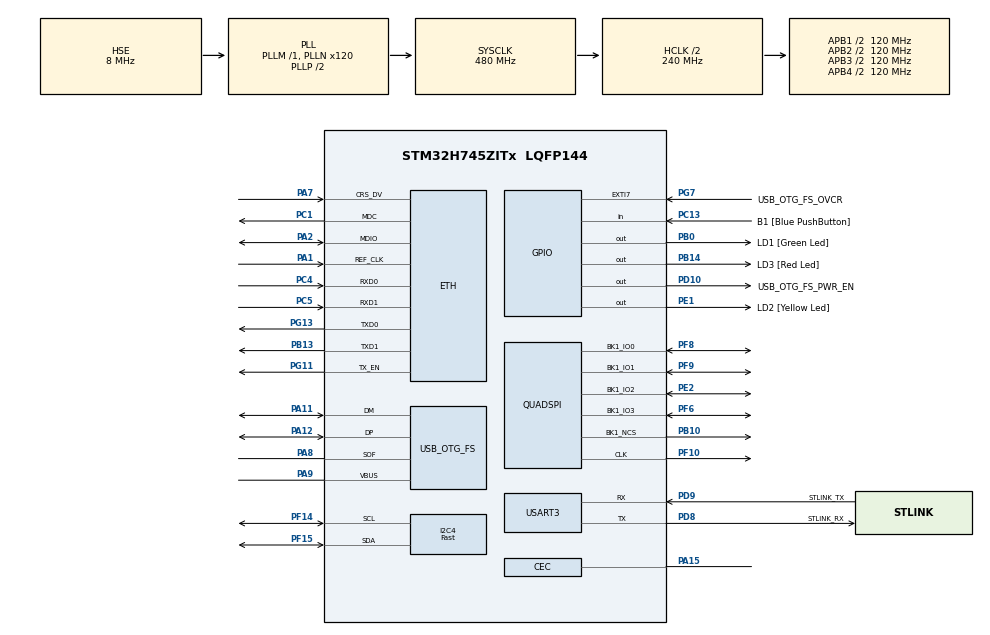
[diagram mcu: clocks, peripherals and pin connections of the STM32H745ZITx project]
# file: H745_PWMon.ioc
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CortexM4.IPs=FATFS_M4\:I,FREERTOS_M4\:I,IWDG2\:I,RCC,WWDG2\:I,DMA,BDMA,MDMA,NVIC2\:I,USART3,ETH,DEBUG,USB_DEVICE_M4\:I,USB_HOST_M4\:I,PDM2PCM_M4\:I,PWR,RESMGR_UTILITY,SYS_M4\:I,CORTEX_M4\:I,OPENAMP_M4\:I,VREFBUF,GPIO
CortexM7.IPs=FATFS_M7\:I,FREERTOS_M7\:I,IWDG1\:I,RCC\:I,WWDG1\:I,DMA\:I,BDMA\:I,MDMA\:I,NVIC1\:I,SYS\:I,USART3\:I,USB_OTG_FS\:I,ETH\:I,CORTEX_M7\:I,DEBUG\:I,USB_DEVICE_M7\:I,USB_HOST_M7\:I,PDM2PCM_M7\:I,PWR\:I,RESMGR_UTILITY\:I,OPENAMP_M7\:I,VREFBUF\:I,GPIO\:I,I2C4\:I,QUADSPI\:I,HDMI_CEC\:I
CortexM7.Pins=PB14,PE1
ETH.MediaInterface=HAL_ETH_RMII_MODE
I2C4.I2C_Speed_Mode=I2C_Fast
I2C4.Timing=0x00B03FDB
Mcu.Family=STM32H7
Mcu.Name=STM32H745ZITx
Mcu.Package=LQFP144
NVIC1.CEC_IRQn=true\:0\:0\:false\:false\:true\:false\:true\:true
NVIC1.PriorityGroup=NVIC_PRIORITYGROUP_4
NVIC2.PriorityGroup=NVIC_PRIORITYGROUP_4
PA1.Mode=RMII
PA1.PinAttribute=CortexM7
PA1.Signal=ETH_REF_CLK
PA11.Mode=Device_Only
PA11.PinAttribute=CortexM7
PA11.Signal=USB_OTG_FS_DM
PA12.Mode=Device_Only
PA12.PinAttribute=CortexM7
PA12.Signal=USB_OTG_FS_DP
PA15\ (JTDI).Mode=CEC_Activate
PA15\ (JTDI).PinAttribute=CortexM7
PA15\ (JTDI).Signal=CEC
PA2.Mode=RMII
PA2.PinAttribute=CortexM7
PA2.Signal=ETH_MDIO
PA7.Mode=RMII
PA7.PinAttribute=CortexM7
PA7.Signal=ETH_CRS_DV
PA8.Mode=Activate_SOF_FS
PA8.PinAttribute=CortexM7
PA8.Signal=USB_OTG_FS_SOF
PA9.Mode=Activate_VBUS
PA9.PinAttribute=CortexM7
PA9.Signal=USB_OTG_FS_VBUS
PB0.GPIO_Label=LD1 [Green Led]
PB0.PinAttribute=Free
PB0.Signal=GPIO_Output
PB10.Mode=Single Bank 1
PB10.PinAttribute=CortexM7
PB10.Signal=QUADSPI_BK1_NCS
PB13.Mode=RMII
PB13.PinAttribute=CortexM7
PB13.Signal=ETH_TXD1
PB14.GPIO_Label=LD3 [Red Led]
PB14.PinAttribute=CortexM7
PB14.Signal=GPIO_Output
PC1.Mode=RMII
PC1.PinAttribute=CortexM7
PC1.Signal=ETH_MDC
PC13.GPIO_Label=B1 [Blue PushButton]
PC13.PinAttribute=Free
PC13.Signal=GPIO_Input
PC14-OSC32_IN\ (OSC32_IN).Mode=LSE-External-Oscillator
PC14-OSC32_IN\ (OSC32_IN).PinAttribute=CortexM7
PC14-OSC32_IN\ (OSC32_IN).Signal=RCC_OSC32_IN
PC15-OSC32_OUT\ (OSC32_OUT).Mode=LSE-External-Oscillator
PC15-OSC32_OUT\ (OSC32_OUT).PinAttribute=CortexM7
PC15-OSC32_OUT\ (OSC32_OUT).Signal=RCC_OSC32_OUT
PC4.Mode=RMII
PC4.PinAttribute=CortexM7
PC4.Signal=ETH_RXD0
PC5.Mode=RMII
PC5.PinAttribute=CortexM7
PC5.Signal=ETH_RXD1
PD10.GPIO_Label=USB_OTG_FS_PWR_EN
PD10.PinAttribute=Free
PD10.Signal=GPIO_Output
PD8.GPIO_Label=STLINK_RX
PD8.Mode=Asynchronous
PD8.PinAttribute=CortexM7
PD8.Signal=USART3_TX
PD9.GPIO_Label=STLINK_TX
PD9.Mode=Asynchronous
PD9.PinAttribute=CortexM7
PD9.Signal=USART3_RX
PE1.GPIO_Label=LD2 [Yellow Led]
PE1.PinAttribute=CortexM7
PE1.Signal=GPIO_Output
PE2.Mode=Single Bank 1
PE2.PinAttribute=CortexM7
PE2.Signal=QUADSPI_BK1_IO2
PF10.Mode=Single Bank 1
PF10.PinAttribute=CortexM7
PF10.Signal=QUADSPI_CLK
PF14.Mode=I2C
PF14.PinAttribute=CortexM7
PF14.Signal=I2C4_SCL
PF15.Mode=I2C
PF15.PinAttribute=CortexM7
PF15.Signal=I2C4_SDA
PF6.Mode=Single Bank 1
PF6.PinAttribute=CortexM7
PF6.Signal=QUADSPI_BK1_IO3
PF8.Mode=Single Bank 1
PF8.PinAttribute=CortexM7
PF8.Signal=QUADSPI_BK1_IO0
PF9.Mode=Single Bank 1
PF9.PinAttribute=CortexM7
PF9.Signal=QUADSPI_BK1_IO1
PG11.Mode=RMII
PG11.PinAttribute=CortexM7
PG11.Signal=ETH_TX_EN
PG13.Mode=RMII
PG13.PinAttribute=CortexM7
PG13.Signal=ETH_TXD0
PG7.GPIO_Label=USB_OTG_FS_OVCR
PG7.PinAttribute=Free
PG7.Signal=GPXTI7
PH0-OSC_IN\ (PH0).Mode=HSE-External-Clock-Source
PH0-OSC_IN\ (PH0).PinAttribute=CortexM7
PH0-OSC_IN\ (PH0).Signal=RCC_OSC_IN
PH1-OSC_OUT\ (PH1).PinAttribute=CortexM7
PH1-OSC_OUT\ (PH1).Signal=RCC_OSC_OUT
ProjectManager.HeapSize=M4-0x200,M7-0x200
ProjectManager.StackSize=M4-0x400,M7-0x400
ProjectManager.TargetToolchain=STM32CubeIDE
RCC.ADCFreq_Value=16125000
RCC.APB1Freq_Value=120000000
RCC.APB2Freq_Value=120000000
RCC.APB3Freq_Value=120000000
RCC.APB4Freq_Value=120000000
RCC.CortexFreq_Value=480000000
RCC.D1PPRE=RCC_APB3_DIV2
RCC.D2PPRE1=RCC_APB1_DIV2
RCC.D2PPRE2=RCC_APB2_DIV2
RCC.D3PPRE=RCC_APB4_DIV2
RCC.DIVM1=1
RCC.DIVM3=1
RCC.DIVN1=120
RCC.DIVN3=18
RCC.DIVQ3=3
RCC.HCLKFreq_Value=240000000
RCC.HPRE=RCC_HCLK_DIV2
RCC.HSE_VALUE=8000000
RCC.PLL2FRACN=0
RCC.PLL3FRACN=6144
RCC.PLLFRACN=0
RCC.PLLSourceVirtual=RCC_PLLSOURCE_HSE
RCC.SYSCLKFreq_VALUE=480000000
RCC.SYSCLKSource=RCC_SYSCLKSOURCE_PLLCLK
RCC.SupplySource=PWR_LDO_SUPPLY
RCC.USBCLockSelection=RCC_USBCLKSOURCE_HSI48
RCC.USBFreq_Value=48000000
USART3.VirtualMode-Asynchronous=VM_ASYNC
USB_OTG_FS.VirtualMode=Device_Only
VP_SYS_M4_VS_Systick.Mode=SysTick
board=NUCLEO-H745ZI-Q

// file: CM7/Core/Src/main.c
/* USER CODE BEGIN Header */
/**
  ******************************************************************************
  * @file           : main.c
  * @brief          : Main program body
  ******************************************************************************
  * @attention
  *
  * Copyright (c) 2023 STMicroelectronics.
  * All rights reserved.
  *
  * This software is licensed under terms that can be found in the LICENSE file
  * in the root directory of this software component.
  * If no LICENSE file comes with this software, it is provided AS-IS.
  *
  ******************************************************************************
  */
/* USER CODE END Header */
#include "main.h"
#include "string.h"

/* USER CODE BEGIN Includes */
#include "LCDrivers/Fonts/fonts.h"
#include "LCDrivers/ili9486.h"
#include "personalINFO/persona_2.h"

#include "INA219.h"
/* USER CODE END Includes */

/* USER CODE BEGIN PD */
//#define INA219_Wrk

#ifndef HSEM_ID_0
#define HSEM_ID_0 (0U) /* HW semaphore 0*/
#endif

/* USER CODE END PD */

#if defined ( __ICCARM__ ) /*!< IAR Compiler */
#pragma location=0x30000000
ETH_DMADescTypeDef  DMARxDscrTab[ETH_RX_DESC_CNT]; /* Ethernet Rx DMA Descriptors */
#pragma location=0x30000200
ETH_DMADescTypeDef  DMATxDscrTab[ETH_TX_DESC_CNT]; /* Ethernet Tx DMA Descriptors */

#elif defined ( __CC_ARM )  /* MDK ARM Compiler */

__attribute__((at(0x30000000))) ETH_DMADescTypeDef  DMARxDscrTab[ETH_RX_DESC_CNT]; /* Ethernet Rx DMA Descriptors */
__attribute__((at(0x30000200))) ETH_DMADescTypeDef  DMATxDscrTab[ETH_TX_DESC_CNT]; /* Ethernet Tx DMA Descriptors */

#elif defined ( __GNUC__ ) /* GNU Compiler */
ETH_DMADescTypeDef DMARxDscrTab[ETH_RX_DESC_CNT] __attribute__((section(".RxDecripSection"))); /* Ethernet Rx DMA Descriptors */
ETH_DMADescTypeDef DMATxDscrTab[ETH_TX_DESC_CNT] __attribute__((section(".TxDecripSection")));   /* Ethernet Tx DMA Descriptors */

#endif

ETH_TxPacketConfig TxConfig;

ETH_HandleTypeDef heth;

CEC_HandleTypeDef hcec;

I2C_HandleTypeDef hi2c4;

QSPI_HandleTypeDef hqspi;

UART_HandleTypeDef huart3;

PCD_HandleTypeDef hpcd_USB_OTG_FS;

   uint8_t cec_receive_buffer[16];
/* USER CODE BEGIN PV */
struct _timestamp{
	uint32_t one;
	uint32_t two;
} timestamp;

uint8_t onetime = 1;

//// buffer for text display
char txtdispBF[120] = {0};

//// --------- INA219 ------------------------------------
INA219_Read_Set inata; // read
INA219_Read_Set inatb; // read
INA219_Read_Set inatc;
INA219_Conf_Strc cofgra;

/* USER CODE END PV */

void SystemClock_Config(void);
static void MX_GPIO_Init(void);
static void MX_ETH_Init(void);
static void MX_USART3_UART_Init(void);
static void MX_USB_OTG_FS_PCD_Init(void);
static void MX_I2C4_Init(void);
static void MX_HDMI_CEC_Init(void);
static void MX_QUADSPI_Init(void);
/* USER CODE BEGIN PFP */
void ili_scr_1();
void ili_seq_arrow();
void pwmon_labeling();
/* USER CODE END PFP */

int main(void)
{
/* USER CODE BEGIN Boot_Mode_Sequence_0 */
  int32_t timeout;
/* USER CODE END Boot_Mode_Sequence_0 */

/* USER CODE BEGIN Boot_Mode_Sequence_1 */
  /* Wait until CPU2 boots and enters in stop mode or timeout*/
  timeout = 0xFFFF;
  while((__HAL_RCC_GET_FLAG(RCC_FLAG_D2CKRDY) != RESET) && (timeout-- > 0));
  if ( timeout < 0 )
  {
  Error_Handler();
  }
/* USER CODE END Boot_Mode_Sequence_1 */
  /* MCU Configuration--------------------------------------------------------*/

  /* Reset of all peripherals, Initializes the Flash interface and the Systick. */
  HAL_Init();

  /* Configure the system clock */
  SystemClock_Config();
/* USER CODE BEGIN Boot_Mode_Sequence_2 */
/* When system initialization is finished, Cortex-M7 will release Cortex-M4 by means of
HSEM notification */
/*HW semaphore Clock enable*/
__HAL_RCC_HSEM_CLK_ENABLE();
/*Take HSEM */
HAL_HSEM_FastTake(HSEM_ID_0);
/*Release HSEM in order to notify the CPU2(CM4)*/
HAL_HSEM_Release(HSEM_ID_0,0);
/* wait until CPU2 wakes up from stop mode */
timeout = 0xFFFF;
while((__HAL_RCC_GET_FLAG(RCC_FLAG_D2CKRDY) == RESET) && (timeout-- > 0));
if ( timeout < 0 )
{
Error_Handler();
}
/* USER CODE END Boot_Mode_Sequence_2 */

  /* Initialize all configured peripherals */
  MX_GPIO_Init();
  MX_ETH_Init();
  MX_USART3_UART_Init();
  MX_USB_OTG_FS_PCD_Init();
  MX_I2C4_Init();
  MX_HDMI_CEC_Init();
  MX_QUADSPI_Init();
  /* USER CODE BEGIN 2 */

  timestamp.one = 0;
  timestamp.two = 0;

  ili9486_Init();
  ili9486_DisplayOn();

  ili_scr_1();

  ili9486_FillRect(0, 0, 480, 35, cl_BLUE);
  ili9486_WriteStringNoBG(10, 10, " > PWMon ----->>>-----", Font20, cl_WHITE);
  ili9486_WriteStringNoBG(400, 10, " OWL_HOR ", Font12, cl_WHITE);

  ili9486_WriteStringNoBG(10, 40, " INA219 PWRMon Quick", Font20, cl_OLIVE);
  //ili9486_FillRect(20, 100, 450, 200, cl_BLACK);
  //ili9486_DrawRGBImage(90, 90, 277, 170, (uint16_t*)image_data_owlsOFCC);

#ifdef INA219_Wrk
  INA219_INIT_Calibrate(&hi2c4, INA219_ADDR_1);
  INA219_INIT_Calibrate(&hi2c4, INA219_ADDR_2);
//  cofgra.INA219CF.reset = 0;
//  cofgra.INA219CF.BRNG = BRNG_FSR_16V;
//  cofgra.INA219CF.PGA = PGA_GainD8_320mv;
//  cofgra.INA219CF.BADC = ADCI_12bit_532uS;
//  cofgra.INA219CF.SADC = ADCI_10bit_148uS;
//  cofgra.INA219CF.Mode = INAM_ShuntBusV_Continuous;
//
//  INA219_INIT(&hi2c1, INA219_ADDR_1, cofgra);
//  INA219_Calibrate(&hi2c1, INA219_ADDR_1);
#endif

  /* USER CODE END 2 */

  /* Infinite loop */
  while (1)
  {

    /* USER CODE BEGIN 3 */

	  //// blink
	  if(timestamp.one <= HAL_GetTick()){
		  timestamp.one = HAL_GetTick() + 50;

		  HAL_GPIO_TogglePin(LD3_GPIO_Port, LD3_Pin);
		  ili_seq_arrow();

		  //// Labeling, first time only
		  if(onetime){
			  onetime = 0;
			  	 pwmon_labeling();
		  }

	  }

	  //// data request
	  if(timestamp.two <= HAL_GetTick()){
		  timestamp.two = HAL_GetTick() + 100;
		  HAL_GPIO_TogglePin(LD2_GPIO_Port, LD2_Pin);

#ifdef INA219_Wrk
		  inata.Bus_V   = INA219Read_BusV(&hi2c4, INA219_ADDR_1);
		  inata.CURRENT = INA219Read_Current(&hi2c4, INA219_ADDR_1);
		  inata.POWER   = INA219Read_Power(&hi2c4, INA219_ADDR_1);
		  inata.SHUNT_V = INA219Read_ShuntV(&hi2c4, INA219_ADDR_1);
#endif

	  }

  }
  /* USER CODE END 3 */
}

void SystemClock_Config(void)
{
  RCC_OscInitTypeDef RCC_OscInitStruct = {0};
  RCC_ClkInitTypeDef RCC_ClkInitStruct = {0};

  /** Supply configuration update enable
  */
  HAL_PWREx_ConfigSupply(PWR_LDO_SUPPLY);

  /** Configure the main internal regulator output voltage
  */
  __HAL_PWR_VOLTAGESCALING_CONFIG(PWR_REGULATOR_VOLTAGE_SCALE1);

  while(!__HAL_PWR_GET_FLAG(PWR_FLAG_VOSRDY)) {}

  __HAL_RCC_SYSCFG_CLK_ENABLE();
  __HAL_PWR_VOLTAGESCALING_CONFIG(PWR_REGULATOR_VOLTAGE_SCALE0);

  while(!__HAL_PWR_GET_FLAG(PWR_FLAG_VOSRDY)) {}

  /** Initializes the RCC Oscillators according to the specified parameters
  * in the RCC_OscInitTypeDef structure.
  */
  RCC_OscInitStruct.OscillatorType = RCC_OSCILLATORTYPE_HSI48|RCC_OSCILLATORTYPE_LSI
                              |RCC_OSCILLATORTYPE_HSE;
  RCC_OscInitStruct.HSEState = RCC_HSE_BYPASS;
  RCC_OscInitStruct.LSIState = RCC_LSI_ON;
  RCC_OscInitStruct.HSI48State = RCC_HSI48_ON;
  RCC_OscInitStruct.PLL.PLLState = RCC_PLL_ON;
  RCC_OscInitStruct.PLL.PLLSource = RCC_PLLSOURCE_HSE;
  RCC_OscInitStruct.PLL.PLLM = 1;
  RCC_OscInitStruct.PLL.PLLN = 120;
  RCC_OscInitStruct.PLL.PLLP = 2;
  RCC_OscInitStruct.PLL.PLLQ = 2;
  RCC_OscInitStruct.PLL.PLLR = 2;
  RCC_OscInitStruct.PLL.PLLRGE = RCC_PLL1VCIRANGE_3;
  RCC_OscInitStruct.PLL.PLLVCOSEL = RCC_PLL1VCOWIDE;
  RCC_OscInitStruct.PLL.PLLFRACN = 0;
  if (HAL_RCC_OscConfig(&RCC_OscInitStruct) != HAL_OK)
  {
    Error_Handler();
  }

  /** Initializes the CPU, AHB and APB buses clocks
  */
  RCC_ClkInitStruct.ClockType = RCC_CLOCKTYPE_HCLK|RCC_CLOCKTYPE_SYSCLK
                              |RCC_CLOCKTYPE_PCLK1|RCC_CLOCKTYPE_PCLK2
                              |RCC_CLOCKTYPE_D3PCLK1|RCC_CLOCKTYPE_D1PCLK1;
  RCC_ClkInitStruct.SYSCLKSource = RCC_SYSCLKSOURCE_PLLCLK;
  RCC_ClkInitStruct.SYSCLKDivider = RCC_SYSCLK_DIV1;
  RCC_ClkInitStruct.AHBCLKDivider = RCC_HCLK_DIV2;
  RCC_ClkInitStruct.APB3CLKDivider = RCC_APB3_DIV2;
  RCC_ClkInitStruct.APB1CLKDivider = RCC_APB1_DIV2;
  RCC_ClkInitStruct.APB2CLKDivider = RCC_APB2_DIV2;
  RCC_ClkInitStruct.APB4CLKDivider = RCC_APB4_DIV2;

  if (HAL_RCC_ClockConfig(&RCC_ClkInitStruct, FLASH_LATENCY_4) != HAL_OK)
  {
    Error_Handler();
  }
}

static void MX_ETH_Init(void)
{

   static uint8_t MACAddr[6];

  heth.Instance = ETH;
  MACAddr[0] = 0x00;
  MACAddr[1] = 0x80;
  MACAddr[2] = 0xE1;
  MACAddr[3] = 0x00;
  MACAddr[4] = 0x00;
  MACAddr[5] = 0x00;
  heth.Init.MACAddr = &MACAddr[0];
  heth.Init.MediaInterface = HAL_ETH_RMII_MODE;
  heth.Init.TxDesc = DMATxDscrTab;
  heth.Init.RxDesc = DMARxDscrTab;
  heth.Init.RxBuffLen = 1524;

  if (HAL_ETH_Init(&heth) != HAL_OK)
  {
    Error_Handler();
  }

  memset(&TxConfig, 0 , sizeof(ETH_TxPacketConfig));
  TxConfig.Attributes = ETH_TX_PACKETS_FEATURES_CSUM | ETH_TX_PACKETS_FEATURES_CRCPAD;
  TxConfig.ChecksumCtrl = ETH_CHECKSUM_IPHDR_PAYLOAD_INSERT_PHDR_CALC;
  TxConfig.CRCPadCtrl = ETH_CRC_PAD_INSERT;

}

static void MX_HDMI_CEC_Init(void)
{

  hcec.Instance = CEC;
  hcec.Init.SignalFreeTime = CEC_DEFAULT_SFT;
  hcec.Init.Tolerance = CEC_STANDARD_TOLERANCE;
  hcec.Init.BRERxStop = CEC_RX_STOP_ON_BRE;
  hcec.Init.BREErrorBitGen = CEC_BRE_ERRORBIT_NO_GENERATION;
  hcec.Init.LBPEErrorBitGen = CEC_LBPE_ERRORBIT_NO_GENERATION;
  hcec.Init.BroadcastMsgNoErrorBitGen = CEC_BROADCASTERROR_ERRORBIT_GENERATION;
  hcec.Init.SignalFreeTimeOption = CEC_SFT_START_ON_TXSOM;
  hcec.Init.ListenMode = CEC_FULL_LISTENING_MODE;
  hcec.Init.OwnAddress = CEC_OWN_ADDRESS_NONE;
  hcec.Init.RxBuffer = cec_receive_buffer;
  if (HAL_CEC_Init(&hcec) != HAL_OK)
  {
    Error_Handler();
  }

}

static void MX_I2C4_Init(void)
{

  hi2c4.Instance = I2C4;
  hi2c4.Init.Timing = 0x00B03FDB;
  hi2c4.Init.OwnAddress1 = 0;
  hi2c4.Init.AddressingMode = I2C_ADDRESSINGMODE_7BIT;
  hi2c4.Init.DualAddressMode = I2C_DUALADDRESS_DISABLE;
  hi2c4.Init.OwnAddress2 = 0;
  hi2c4.Init.OwnAddress2Masks = I2C_OA2_NOMASK;
  hi2c4.Init.GeneralCallMode = I2C_GENERALCALL_DISABLE;
  hi2c4.Init.NoStretchMode = I2C_NOSTRETCH_DISABLE;
  if (HAL_I2C_Init(&hi2c4) != HAL_OK)
  {
    Error_Handler();
  }

  /** Configure Analogue filter
  */
  if (HAL_I2CEx_ConfigAnalogFilter(&hi2c4, I2C_ANALOGFILTER_ENABLE) != HAL_OK)
  {
    Error_Handler();
  }

  /** Configure Digital filter
  */
  if (HAL_I2CEx_ConfigDigitalFilter(&hi2c4, 0) != HAL_OK)
  {
    Error_Handler();
  }

}

static void MX_QUADSPI_Init(void)
{

  /* QUADSPI parameter configuration*/
  hqspi.Instance = QUADSPI;
  hqspi.Init.ClockPrescaler = 255;
  hqspi.Init.FifoThreshold = 1;
  hqspi.Init.SampleShifting = QSPI_SAMPLE_SHIFTING_NONE;
  hqspi.Init.FlashSize = 1;
  hqspi.Init.ChipSelectHighTime = QSPI_CS_HIGH_TIME_1_CYCLE;
  hqspi.Init.ClockMode = QSPI_CLOCK_MODE_0;
  hqspi.Init.FlashID = QSPI_FLASH_ID_1;
  hqspi.Init.DualFlash = QSPI_DUALFLASH_DISABLE;
  if (HAL_QSPI_Init(&hqspi) != HAL_OK)
  {
    Error_Handler();
  }

}

static void MX_USART3_UART_Init(void)
{

  huart3.Instance = USART3;
  huart3.Init.BaudRate = 115200;
  huart3.Init.WordLength = UART_WORDLENGTH_8B;
  huart3.Init.StopBits = UART_STOPBITS_1;
  huart3.Init.Parity = UART_PARITY_NONE;
  huart3.Init.Mode = UART_MODE_TX_RX;
  huart3.Init.HwFlowCtl = UART_HWCONTROL_NONE;
  huart3.Init.OverSampling = UART_OVERSAMPLING_16;
  huart3.Init.OneBitSampling = UART_ONE_BIT_SAMPLE_DISABLE;
  huart3.Init.ClockPrescaler = UART_PRESCALER_DIV1;
  huart3.AdvancedInit.AdvFeatureInit = UART_ADVFEATURE_NO_INIT;
  if (HAL_UART_Init(&huart3) != HAL_OK)
  {
    Error_Handler();
  }
  if (HAL_UARTEx_SetTxFifoThreshold(&huart3, UART_TXFIFO_THRESHOLD_1_8) != HAL_OK)
  {
    Error_Handler();
  }
  if (HAL_UARTEx_SetRxFifoThreshold(&huart3, UART_RXFIFO_THRESHOLD_1_8) != HAL_OK)
  {
    Error_Handler();
  }
  if (HAL_UARTEx_DisableFifoMode(&huart3) != HAL_OK)
  {
    Error_Handler();
  }

}

static void MX_USB_OTG_FS_PCD_Init(void)
{

  hpcd_USB_OTG_FS.Instance = USB_OTG_FS;
  hpcd_USB_OTG_FS.Init.dev_endpoints = 9;
  hpcd_USB_OTG_FS.Init.speed = PCD_SPEED_FULL;
  hpcd_USB_OTG_FS.Init.dma_enable = DISABLE;
  hpcd_USB_OTG_FS.Init.phy_itface = PCD_PHY_EMBEDDED;
  hpcd_USB_OTG_FS.Init.Sof_enable = DISABLE;
  hpcd_USB_OTG_FS.Init.low_power_enable = DISABLE;
  hpcd_USB_OTG_FS.Init.lpm_enable = DISABLE;
  hpcd_USB_OTG_FS.Init.battery_charging_enable = ENABLE;
  hpcd_USB_OTG_FS.Init.vbus_sensing_enable = ENABLE;
  hpcd_USB_OTG_FS.Init.use_dedicated_ep1 = DISABLE;
  if (HAL_PCD_Init(&hpcd_USB_OTG_FS) != HAL_OK)
  {
    Error_Handler();
  }

}

static void MX_GPIO_Init(void)
{
  GPIO_InitTypeDef GPIO_InitStruct = {0};

  /* GPIO Ports Clock Enable */
  __HAL_RCC_GPIOE_CLK_ENABLE();
  __HAL_RCC_GPIOC_CLK_ENABLE();
  __HAL_RCC_GPIOF_CLK_ENABLE();
  __HAL_RCC_GPIOH_CLK_ENABLE();
  __HAL_RCC_GPIOA_CLK_ENABLE();
  __HAL_RCC_GPIOB_CLK_ENABLE();
  __HAL_RCC_GPIOD_CLK_ENABLE();
  __HAL_RCC_GPIOG_CLK_ENABLE();

  /*Configure GPIO pin Output Level */
  HAL_GPIO_WritePin(LD3_GPIO_Port, LD3_Pin, GPIO_PIN_RESET);

  /*Configure GPIO pin Output Level */
  HAL_GPIO_WritePin(LD2_GPIO_Port, LD2_Pin, GPIO_PIN_RESET);

  /*Configure GPIO pin : LD3_Pin */
  GPIO_InitStruct.Pin = LD3_Pin;
  GPIO_InitStruct.Mode = GPIO_MODE_OUTPUT_PP;
  GPIO_InitStruct.Pull = GPIO_NOPULL;
  GPIO_InitStruct.Speed = GPIO_SPEED_FREQ_LOW;
  HAL_GPIO_Init(LD3_GPIO_Port, &GPIO_InitStruct);

  /*Configure GPIO pin : LD2_Pin */
  GPIO_InitStruct.Pin = LD2_Pin;
  GPIO_InitStruct.Mode = GPIO_MODE_OUTPUT_PP;
  GPIO_InitStruct.Pull = GPIO_NOPULL;
  GPIO_InitStruct.Speed = GPIO_SPEED_FREQ_LOW;
  HAL_GPIO_Init(LD2_GPIO_Port, &GPIO_InitStruct);

}

/* USER CODE BEGIN 4 */
void ili_scr_1(){

	  ili9486_FillRect(0, 0, 480, 320, cl_BLACK);

	  ili9486_FillRect(0, 300, 80, 20, cl_RED); // Red
	  ili9486_FillRect(80, 300, 80, 20, cl_GREEN); // Green RGB565
	  ili9486_FillRect(160, 300, 80, 20, cl_BLUE); // Blue
	  ili9486_FillRect(240, 300,  80, 20, cl_CYAN); // C0x07FF
	  ili9486_FillRect(320, 300, 80, 20, cl_MAGENTA); // M 0xF81F
	  ili9486_FillRect(400, 300, 80, 20, cl_YELLOW); // Y0xFFE0
	  //ili9486_FillRect(390, 30, 70, 230, cl_BLACK); // K
}

void ili_seq_arrow(){
	//ili9486_WriteStringNoBG(10, 10, " > STAMPR ----->>>-----", Font20, cl_WHITE);
	static uint8_t st_arr = 0;
	uint8_t xpoo = 166;
	uint8_t ypoo = 10;

	switch(st_arr){
	default:
	case 0:
		ili9486_WriteString(xpoo, ypoo, "----->>>-----", Font20, cl_WHITE, cl_BLUE);
		break;
	case 1:
		ili9486_WriteString(xpoo, ypoo, "------>>>----", Font20, cl_WHITE, cl_BLUE);
		break;
	case 2:
		ili9486_WriteString(xpoo, ypoo, "------->>>---", Font20, cl_WHITE, cl_BLUE);
		break;
	case 3:
		ili9486_WriteString(xpoo, ypoo, "-------->>>--", Font20, cl_WHITE, cl_BLUE);
		break;
	case 4:
		ili9486_WriteString(xpoo, ypoo, "--------->>>-", Font20, cl_WHITE, cl_BLUE);
		break;
	case 5:
		ili9486_WriteString(xpoo, ypoo, "---------->>>", Font20, cl_WHITE, cl_BLUE);
		break;
	case 6:
		ili9486_WriteString(xpoo, ypoo, ">---------->>", Font20, cl_WHITE, cl_BLUE);
		break;
	case 7:
		ili9486_WriteString(xpoo, ypoo, ">>---------->", Font20, cl_WHITE, cl_BLUE);
		break;
	case 8:
		ili9486_WriteString(xpoo, ypoo, ">>>----------", Font20, cl_WHITE, cl_BLUE);
		break;
	case 9:
		ili9486_WriteString(xpoo, ypoo, "->>>---------", Font20, cl_WHITE, cl_BLUE);
		break;
	case 10:
		ili9486_WriteString(xpoo, ypoo, "-->>>--------", Font20, cl_WHITE, cl_BLUE);
		break;
	case 11:
		ili9486_WriteString(xpoo, ypoo, "--->>>-------", Font20, cl_WHITE, cl_BLUE);
		break;
	case 12:
		ili9486_WriteString(xpoo, ypoo, "---->>>------", Font20, cl_WHITE, cl_BLUE);
		break;
	}
	st_arr++;
	st_arr%=13;
}

void pwmon_labeling(){

	sprintf(txtdispBF,"#1	#2	#3");
	ili9486_WriteString(120, 80, txtdispBF, Font20, cl_WHITE, cl_BLACK);
}

/* USER CODE END 4 */

void Error_Handler(void)
{
  __disable_irq();
  while (1)
  {
  }
}
